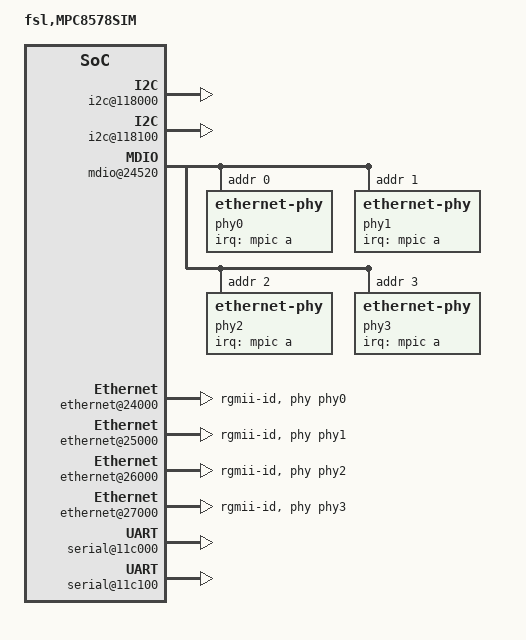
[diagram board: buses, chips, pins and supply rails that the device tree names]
/*
 * MPC8578 Simulator Device Tree Source
 *
 * Copyright 2007 Freescale Semiconductor Inc.
 *
 * This program is free software; you can redistribute  it and/or modify it
 * under  the terms of  the GNU General  Public License as published by the
 * Free Software Foundation;  either version 2 of the  License, or (at your
 * option) any later version.
 */

/ {
	model = "fsl,MPC8578SIM";
	compatible = "fsl,MPC8578SIM";
	#address-cells = <1>;
	#size-cells = <1>;

	cpus {
		#address-cells = <1>;
		#size-cells = <0>;

		PowerPC,8578@0 {
			device_type = "cpu";
			reg = <0>;
			d-cache-line-size = <20>;	// 32 bytes
			i-cache-line-size = <20>;	// 32 bytes
			d-cache-size = <8000>;		// L1, 32K
			i-cache-size = <8000>;		// L1, 32K
			timebase-frequency = <0>;
			bus-frequency = <0>;
			clock-frequency = <0>;
		};
	};

	memory {
		device_type = "memory";
		reg = <00000000 00000000>;	// Filled by U-Boot
	};

	soc@fe000000 {
		#address-cells = <1>;
		#size-cells = <1>;
		device_type = "soc";
		ranges = <00000000 fe000000 00400000>;
		reg = <fe000000 00001000>;
		bus-frequency = <0>;		// Filled out by uboot.

		memory-controller@8000 {
			compatible = "fsl,mpc8578-memory-controller";
			reg = <8000 1000>;
			interrupt-parent = <&mpic>;
			interrupts = <12 2>;
		};

		memory-controller@9000 {
			compatible = "fsl,mpc8578-memory-controller";
			reg = <9000 1000>;
			interrupt-parent = <&mpic>;
			interrupts = <12 2>;
		};

		i2c@118000 {
			device_type = "i2c";
			compatible = "fsl-i2c";
			reg = <118000 100>;
			interrupts = <2b 2>;
			interrupt-parent = <&mpic>;
			dfsrr;
		};

		i2c@118100 {
			device_type = "i2c";
			compatible = "fsl-i2c";
			reg = <118100 100>;
			interrupts = <2b 2>;
			interrupt-parent = <&mpic>;
			dfsrr;
		};

		mdio@24520 {
			#address-cells = <1>;
			#size-cells = <0>;
			device_type = "mdio";
			compatible = "gianfar";
			reg = <24520 20>;
			phy0: ethernet-phy@0 {
				interrupt-parent = <&mpic>;
				interrupts = <a 1>;
				reg = <0>;
			};
			phy1: ethernet-phy@1 {
				interrupt-parent = <&mpic>;
				interrupts = <a 1>;
				reg = <1>;
			};
			phy2: ethernet-phy@2 {
				interrupt-parent = <&mpic>;
				interrupts = <a 1>;
				reg = <2>;
			};
			phy3: ethernet-phy@3 {
				interrupt-parent = <&mpic>;
				interrupts = <a 1>;
				reg = <3>;
			};
		};

		ethernet@24000 {
			#address-cells = <1>;
			#size-cells = <0>;
			device_type = "network";
			model = "eTSEC";
			compatible = "gianfar";
			reg = <24000 1000>;
			local-mac-address = [ 00 00 00 00 00 00 ];
			interrupts = <1d 2 1e 2 22 2>;
			interrupt-parent = <&mpic>;
			phy-handle = <&phy0>;
			phy-connection-type = "rgmii-id";
		};

		ethernet@25000 {
			#address-cells = <1>;
			#size-cells = <0>;
			device_type = "network";
			model = "eTSEC";
			compatible = "gianfar";
			reg = <25000 1000>;
			local-mac-address = [ 00 00 00 00 00 00 ];
			interrupts = <23 2 24 2 28 2>;
			interrupt-parent = <&mpic>;
			phy-handle = <&phy1>;
			phy-connection-type = "rgmii-id";
		};

		ethernet@26000 {
			#address-cells = <1>;
			#size-cells = <0>;
			device_type = "network";
			model = "eTSEC";
			compatible = "gianfar";
			reg = <26000 1000>;
			local-mac-address = [ 00 00 00 00 00 00 ];
			interrupts = <1f 2 20 2 21 2>;
			interrupt-parent = <&mpic>;
			phy-handle = <&phy2>;
			phy-connection-type = "rgmii-id";
		};

		ethernet@27000 {
			#address-cells = <1>;
			#size-cells = <0>;
			device_type = "network";
			model = "eTSEC";
			compatible = "gianfar";
			reg = <27000 1000>;
			local-mac-address = [ 00 00 00 00 00 00 ];
			interrupts = <25 2 26 2 27 2>;
			interrupt-parent = <&mpic>;
			phy-handle = <&phy3>;
			phy-connection-type = "rgmii-id";
		};

		serial@11c000 {
			device_type = "serial";
			compatible = "ns16550";
			reg = <11c000 100>;
			clock-frequency = <0>;
			interrupts = <2a 2>;
			interrupt-parent = <&mpic>;
		};

		serial@11c100 {
			device_type = "serial";
			compatible = "ns16550";
			reg = <11c100 100>;
			clock-frequency = <0>;
			interrupts = <2a 2>;
			interrupt-parent = <&mpic>;
		};

		global-utilities@e0000 {	//global utilities block
			compatible = "fsl,mpc8572-guts";
			reg = <e0000 1000>;
			fsl,has-rstcr;
		};

		mpic: pic@40000 {
			clock-frequency = <0>;
			interrupt-controller;
			#address-cells = <0>;
			#interrupt-cells = <2>;
			reg = <40000 40000>;
			compatible = "chrp,open-pic";
			device_type = "open-pic";
			big-endian;
		};
	};
};
